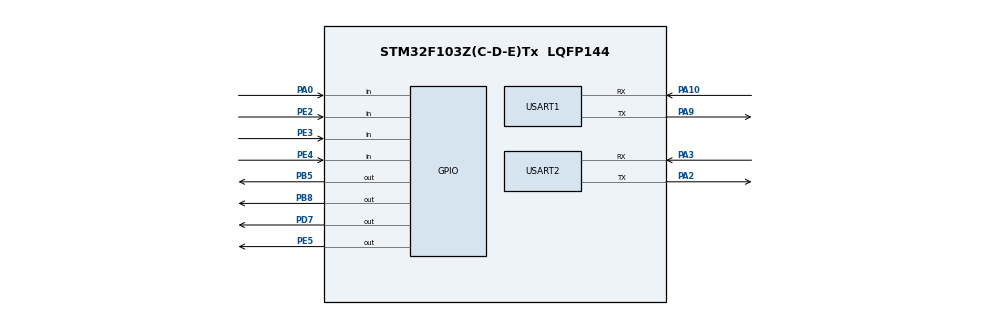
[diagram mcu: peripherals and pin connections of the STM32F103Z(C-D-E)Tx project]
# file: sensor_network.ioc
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Mcu.Family=STM32F1
Mcu.Name=STM32F103Z(C-D-E)Tx
Mcu.Package=LQFP144
NVIC.PriorityGroup=NVIC_PRIORITYGROUP_4
NVIC.USART1_IRQn=true\:0\:0\:false\:false\:true\:true
NVIC.USART2_IRQn=true\:0\:0\:false\:false\:true\:true
PA0-WKUP.GPIO_PuPd=GPIO_PULLDOWN
PA0-WKUP.Signal=GPIO_Input
PA10.Mode=Asynchronous
PA10.Signal=USART1_RX
PA13.Mode=JTAG_5_pins
PA13.Signal=SYS_JTMS-SWDIO
PA14.Mode=JTAG_5_pins
PA14.Signal=SYS_JTCK-SWCLK
PA15.Mode=JTAG_5_pins
PA15.Signal=SYS_JTDI
PA2.Mode=Asynchronous
PA2.Signal=USART2_TX
PA3.Mode=Asynchronous
PA3.Signal=USART2_RX
PA9.Mode=Asynchronous
PA9.Signal=USART1_TX
PB3.Mode=JTAG_5_pins
PB3.Signal=SYS_JTDO-TRACESWO
PB4.Mode=JTAG_5_pins
PB4.Signal=SYS_NJTRST
PB5.Signal=GPIO_Output
PB8.Signal=GPIO_Output
PD7.Signal=GPIO_Output
PE2.GPIO_PuPd=GPIO_PULLUP
PE2.Signal=GPIO_Input
PE3.GPIO_PuPd=GPIO_PULLUP
PE3.Signal=GPIO_Input
PE4.GPIO_PuPd=GPIO_PULLUP
PE4.Signal=GPIO_Input
PE5.PinState=GPIO_PIN_SET
PE5.Signal=GPIO_Output
ProjectManager.HeapSize=0x200
ProjectManager.StackSize=0x400
ProjectManager.TargetToolchain=MDK-ARM V5
RCC.APB1Freq_Value=8000000
RCC.APB2Freq_Value=8000000
USART1.VirtualMode=VM_ASYNC
USART2.VirtualMode=VM_ASYNC
board=custom

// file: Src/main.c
/* USER CODE BEGIN Header */
/**
  ******************************************************************************
  * @file           : main.c
  * @brief          : Main program body
  ******************************************************************************
  ** This notice applies to any and all portions of this file
  * that are not between comment pairs USER CODE BEGIN and
  * USER CODE END. Other portions of this file, whether
  * inserted by the user or by software development tools
  * are owned by their respective copyright owners.
  *
  * COPYRIGHT(c) 2019 STMicroelectronics
  *
  * Redistribution and use in source and binary forms, with or without modification,
  * are permitted provided that the following conditions are met:
  *   1. Redistributions of source code must retain the above copyright notice,
  *      this list of conditions and the following disclaimer.
  *   2. Redistributions in binary form must reproduce the above copyright notice,
  *      this list of conditions and the following disclaimer in the documentation
  *      and/or other materials provided with the distribution.
  *   3. Neither the name of STMicroelectronics nor the names of its contributors
  *      may be used to endorse or promote products derived from this software
  *      without specific prior written permission.
  *
  * THIS SOFTWARE IS PROVIDED BY THE COPYRIGHT HOLDERS AND CONTRIBUTORS "AS IS"
  * AND ANY EXPRESS OR IMPLIED WARRANTIES, INCLUDING, BUT NOT LIMITED TO, THE
  * IMPLIED WARRANTIES OF MERCHANTABILITY AND FITNESS FOR A PARTICULAR PURPOSE ARE
  * DISCLAIMED. IN NO EVENT SHALL THE COPYRIGHT HOLDER OR CONTRIBUTORS BE LIABLE
  * FOR ANY DIRECT, INDIRECT, INCIDENTAL, SPECIAL, EXEMPLARY, OR CONSEQUENTIAL
  * DAMAGES (INCLUDING, BUT NOT LIMITED TO, PROCUREMENT OF SUBSTITUTE GOODS OR
  * SERVICES; LOSS OF USE, DATA, OR PROFITS; OR BUSINESS INTERRUPTION) HOWEVER
  * CAUSED AND ON ANY THEORY OF LIABILITY, WHETHER IN CONTRACT, STRICT LIABILITY,
  * OR TORT (INCLUDING NEGLIGENCE OR OTHERWISE) ARISING IN ANY WAY OUT OF THE USE
  * OF THIS SOFTWARE, EVEN IF ADVISED OF THE POSSIBILITY OF SUCH DAMAGE.
  *
  ******************************************************************************
  */
/* USER CODE END Header */

#include "main.h"
#define RS485_RX_EN() HAL_GPIO_WritePin(GPIOD, GPIO_PIN_7, GPIO_PIN_RESET)
#define RS485_TX_EN() HAL_GPIO_WritePin(GPIOD, GPIO_PIN_7, GPIO_PIN_SET)
#define TXBUFFERSIZE 1
#define RXBUFFERSIZE TXBUFFERSIZE
#define RUNNING_BLINK_INTERVAL 500 //ms 状态指示灯状态变化间隔时间
#define RX_INTERVAL 2 //ms 串口数据接收间隔时间（超出此时间，一次连续数据接收过程结束）

uint32_t lasttick, curtick;
UART_HandleTypeDef huart1;
UART_HandleTypeDef huart2;
__IO ITStatus Uart1TxCplt = RESET;
__IO ITStatus Uart1RxCplt = RESET;
__IO ITStatus Uart2TxCplt = RESET;
__IO ITStatus Uart2RxCplt = RESET;
uint16_t uart1rxcnt, uart1txcnt, uart2rxcnt, uart2txcnt;
/* Buffer used for transmission */
uint8_t aTx1Buffer[TXBUFFERSIZE];
/* Buffer used for reception */
uint8_t aRx1Buffer[RXBUFFERSIZE];
/* Buffer used for transmission */
uint8_t aTx2Buffer[TXBUFFERSIZE];
/* Buffer used for reception */
uint8_t aRx2Buffer[RXBUFFERSIZE];
uint32_t rx1_lastbyte_time = 0;//串口收到字符后发送等待时间（等接收缓冲区接收一点数据再发送，避免485收发状态频繁变化，485转换器芯片动作滞后）

void SystemClock_Config(void);
static void MX_GPIO_Init(void);
static void MX_USART1_UART_Init(void);
static void MX_USART2_UART_Init(void);

int main(void)
{

  /* USER CODE BEGIN 1 */
	CircleQue_TypeDef qbuf1, qbuf2;
	uint8_t b;
	FunctionalState rs485_tx = DISABLE;
  /* USER CODE END 1 */

  /* MCU Configuration--------------------------------------------------------*/

  /* Reset of all peripherals, Initializes the Flash interface and the Systick. */
  HAL_Init();

  /* Configure the system clock */
  SystemClock_Config();
	lasttick = HAL_GetTick();

  /* Initialize all configured peripherals */
  MX_GPIO_Init();
  MX_USART1_UART_Init();
  MX_USART2_UART_Init();
	RS485_RX_EN();
	Que_Init(&qbuf1);
	Que_Init(&qbuf2);
  /* USER CODE BEGIN 2 */
	if(HAL_UART_Transmit_IT(&huart1, (uint8_t*)"Board Ready!\r\n", 14)!= HAL_OK)
  {
    Error_Handler();
  }
	if(HAL_UART_Receive_IT(&huart1, (uint8_t*)aRx1Buffer, 1)!= HAL_OK)
  {
    Error_Handler();
  }
	if(HAL_UART_Receive_IT(&huart2, (uint8_t*)aRx2Buffer, 1)!= HAL_OK)
  {
    Error_Handler();
  }

  /* USER CODE END 2 */

  /* Infinite loop */
  while (1)
  {
		if (Uart1RxCplt == SET) //串口1收到数据
		{
			Uart1RxCplt = RESET;
			Que_In(&qbuf1, aRx1Buffer[0]);//入队
			//向串口1下达继续接受下一个字节的任务
			while (HAL_UART_Receive_IT(&huart1, (uint8_t*)aRx1Buffer, 1)!= HAL_OK);//下达接收任务必须成功，否则不能再收到后续数据
		}
		if (rs485_tx == DISABLE && Que_Query(&qbuf1, &b)) //rs485处于接收状态，并且串口数据缓冲区内有数据
		{
			if ((__QUE_COUNT(&qbuf1) >= 2) || (HAL_GetTick() - rx1_lastbyte_time >= RX_INTERVAL))
			{//如果缓冲区队列qubf1_2的数据超过2个，或者数据存放的时间超过RX_INTERVAL，把485接口设置为发送状态
				RS485_TX_EN();//485转换芯片设置为发送模式
				rs485_tx = ENABLE;//485状态变量设置为发送
			}
		}
		if (rs485_tx == ENABLE)
		{
			if ( Que_Query(&qbuf1, &b))//检查缓冲区队列是否有数据
			{
				aTx2Buffer[0] = b;
				if(HAL_UART_Transmit_IT(&huart2, (uint8_t*)aTx2Buffer, 1) == HAL_OK)
				{
					Que_Out(&qbuf1, &b);//发送任务下达成功，从队列里删除队头，避免下次重复发送
					Uart2TxCplt = RESET;//清除发送完成状态
				}
			}
			else
			{//如果缓冲区没有可发送的数据，并且最后一个数据已经发送结束，485接口设置为接收状态
				if (Uart2TxCplt == SET)
				{
					RS485_RX_EN();//缓冲区队列无数据，将RS485设置为接收状态
					rs485_tx = DISABLE;
					Uart2TxCplt = RESET;//清除发送完成状态
				}
			}
		}
		if (Uart2RxCplt == SET)
		{
			Uart2RxCplt = RESET;
			Que_In(&qbuf2, aRx2Buffer[0]);
			while (HAL_UART_Receive_IT(&huart2, (uint8_t*)aRx2Buffer, 1)!= HAL_OK);//下达接收任务必须成功，否则不能再收到后续数据
		}
		if (Que_Query(&qbuf2, &b))//检查缓冲区队列是否有数据
		{
			aTx1Buffer[0] = b;
			if(HAL_UART_Transmit_IT(&huart1, (uint8_t*)aTx1Buffer, 1) == HAL_OK)
			{
				Que_Out(&qbuf2, &b);//发送任务下达成功，从队列里删除队头，避免下次重复发送
			}
		}
		if ( (curtick = HAL_GetTick()) - lasttick >= RUNNING_BLINK_INTERVAL)
		{
			HAL_GPIO_TogglePin(GPIOE, GPIO_PIN_5);
			lasttick = curtick;
		}
  }
}

void SystemClock_Config(void)
{
  RCC_OscInitTypeDef RCC_OscInitStruct = {0};
  RCC_ClkInitTypeDef RCC_ClkInitStruct = {0};

  /**Initializes the CPU, AHB and APB busses clocks
  */
  RCC_OscInitStruct.OscillatorType = RCC_OSCILLATORTYPE_HSI;
  RCC_OscInitStruct.HSIState = RCC_HSI_ON;
  RCC_OscInitStruct.HSICalibrationValue = RCC_HSICALIBRATION_DEFAULT;
  RCC_OscInitStruct.PLL.PLLState = RCC_PLL_NONE;
  if (HAL_RCC_OscConfig(&RCC_OscInitStruct) != HAL_OK)
  {
    Error_Handler();
  }
  /**Initializes the CPU, AHB and APB busses clocks
  */
  RCC_ClkInitStruct.ClockType = RCC_CLOCKTYPE_HCLK|RCC_CLOCKTYPE_SYSCLK
                              |RCC_CLOCKTYPE_PCLK1|RCC_CLOCKTYPE_PCLK2;
  RCC_ClkInitStruct.SYSCLKSource = RCC_SYSCLKSOURCE_HSI;
  RCC_ClkInitStruct.AHBCLKDivider = RCC_SYSCLK_DIV1;
  RCC_ClkInitStruct.APB1CLKDivider = RCC_HCLK_DIV1;
  RCC_ClkInitStruct.APB2CLKDivider = RCC_HCLK_DIV1;

  if (HAL_RCC_ClockConfig(&RCC_ClkInitStruct, FLASH_LATENCY_0) != HAL_OK)
  {
    Error_Handler();
  }
}

static void MX_USART1_UART_Init(void)
{

  huart1.Instance = USART1;
  huart1.Init.BaudRate = 115200;
  huart1.Init.WordLength = UART_WORDLENGTH_8B;
  huart1.Init.StopBits = UART_STOPBITS_1;
  huart1.Init.Parity = UART_PARITY_NONE;
  huart1.Init.Mode = UART_MODE_TX_RX;
  huart1.Init.HwFlowCtl = UART_HWCONTROL_NONE;
  huart1.Init.OverSampling = UART_OVERSAMPLING_16;
  if (HAL_UART_Init(&huart1) != HAL_OK)
  {
    Error_Handler();
  }

}

static void MX_USART2_UART_Init(void)
{

  huart2.Instance = USART2;
  huart2.Init.BaudRate = 115200;
  huart2.Init.WordLength = UART_WORDLENGTH_8B;
  huart2.Init.StopBits = UART_STOPBITS_1;
  huart2.Init.Parity = UART_PARITY_NONE;
  huart2.Init.Mode = UART_MODE_TX_RX;
  huart2.Init.HwFlowCtl = UART_HWCONTROL_NONE;
  huart2.Init.OverSampling = UART_OVERSAMPLING_16;
  if (HAL_UART_Init(&huart2) != HAL_OK)
  {
    Error_Handler();
  }

}

static void MX_GPIO_Init(void)
{
  GPIO_InitTypeDef GPIO_InitStruct = {0};

  /* GPIO Ports Clock Enable */
  __HAL_RCC_GPIOE_CLK_ENABLE();
  __HAL_RCC_GPIOA_CLK_ENABLE();
  __HAL_RCC_GPIOD_CLK_ENABLE();
  __HAL_RCC_GPIOB_CLK_ENABLE();

  /*Configure GPIO pin Output Level */
  HAL_GPIO_WritePin(GPIOE, GPIO_PIN_5, GPIO_PIN_SET);

  /*Configure GPIO pin Output Level */
  HAL_GPIO_WritePin(GPIOD, GPIO_PIN_7, GPIO_PIN_RESET);

  /*Configure GPIO pin Output Level */
  HAL_GPIO_WritePin(GPIOB, GPIO_PIN_5|GPIO_PIN_8, GPIO_PIN_RESET);

  /*Configure GPIO pins : PE2 PE3 PE4 */
  GPIO_InitStruct.Pin = GPIO_PIN_2|GPIO_PIN_3|GPIO_PIN_4;
  GPIO_InitStruct.Mode = GPIO_MODE_INPUT;
  GPIO_InitStruct.Pull = GPIO_PULLUP;
  HAL_GPIO_Init(GPIOE, &GPIO_InitStruct);

  /*Configure GPIO pin : PE5 */
  GPIO_InitStruct.Pin = GPIO_PIN_5;
  GPIO_InitStruct.Mode = GPIO_MODE_OUTPUT_PP;
  GPIO_InitStruct.Pull = GPIO_NOPULL;
  GPIO_InitStruct.Speed = GPIO_SPEED_FREQ_LOW;
  HAL_GPIO_Init(GPIOE, &GPIO_InitStruct);

  /*Configure GPIO pin : PA0 */
  GPIO_InitStruct.Pin = GPIO_PIN_0;
  GPIO_InitStruct.Mode = GPIO_MODE_INPUT;
  GPIO_InitStruct.Pull = GPIO_PULLDOWN;
  HAL_GPIO_Init(GPIOA, &GPIO_InitStruct);

  /*Configure GPIO pin : PD7 */
  GPIO_InitStruct.Pin = GPIO_PIN_7;
  GPIO_InitStruct.Mode = GPIO_MODE_OUTPUT_PP;
  GPIO_InitStruct.Pull = GPIO_NOPULL;
  GPIO_InitStruct.Speed = GPIO_SPEED_FREQ_LOW;
  HAL_GPIO_Init(GPIOD, &GPIO_InitStruct);

  /*Configure GPIO pins : PB5 PB8 */
  GPIO_InitStruct.Pin = GPIO_PIN_5|GPIO_PIN_8;
  GPIO_InitStruct.Mode = GPIO_MODE_OUTPUT_PP;
  GPIO_InitStruct.Pull = GPIO_NOPULL;
  GPIO_InitStruct.Speed = GPIO_SPEED_FREQ_LOW;
  HAL_GPIO_Init(GPIOB, &GPIO_InitStruct);

}

/* USER CODE BEGIN 4 */
/**
  * @brief  Tx Transfer completed callback
  * @param  UartHandle: UART handle.
  * @note   This example shows a simple way to report end of IT Tx transfer, and
  *         you can add your own implementation.
  * @retval None
  */
void HAL_UART_TxCpltCallback(UART_HandleTypeDef *UartHandle)
{
  /* Set transmission flag: transfer complete */
	if (UartHandle->Instance == USART1)
	{
		Uart1TxCplt = SET;
	}
	if (UartHandle->Instance == USART2)
	{
		Uart2TxCplt = SET;
	}
}

/**
  * @brief  Rx Transfer completed callback
  * @param  UartHandle: UART handle
  * @note   This example shows a simple way to report end of DMA Rx transfer, and
  *         you can add your own implementation.
  * @retval None
  */
void HAL_UART_RxCpltCallback(UART_HandleTypeDef *UartHandle)
{
  /* Set transmission flag: transfer complete */
	if (UartHandle->Instance == USART1)
	{
		Uart1RxCplt = SET;
		rx1_lastbyte_time = HAL_GetTick();
	}
	if (UartHandle->Instance == USART2)
	{
		Uart2RxCplt = SET;
	}
}

/**
  * @brief  UART error callbacks
  * @param  UartHandle: UART handle
  * @note   This example shows a simple way to report transfer error, and you can
  *         add your own implementation.
  * @retval None
  */
void HAL_UART_ErrorCallback(UART_HandleTypeDef *UartHandle)
{
    Error_Handler();
}

/* USER CODE END 4 */

void Error_Handler(void)
{
}

/************************ (C) COPYRIGHT STMicroelectronics *****END OF FILE****/
